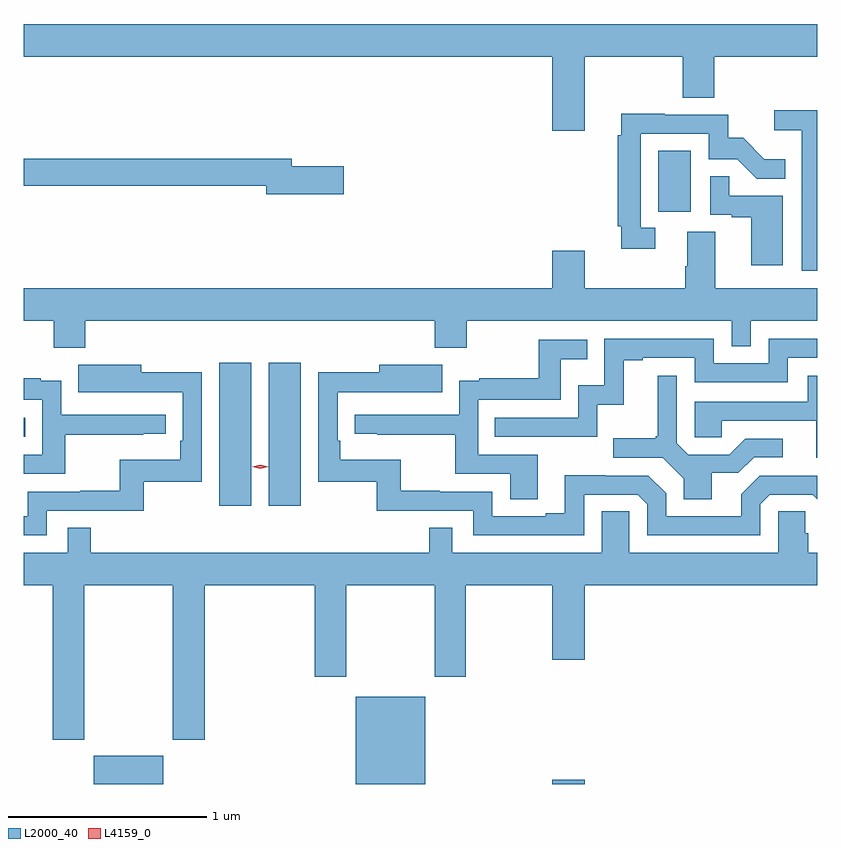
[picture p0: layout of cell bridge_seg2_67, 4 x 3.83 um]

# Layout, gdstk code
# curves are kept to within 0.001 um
import gdstk
lib = gdstk.Library(unit=1e-6, precision=1e-09)
def R(c, l, rs):  # rectangles x0, y0, x1, y1
    for r in rs: c.add(gdstk.rectangle(r[:2], r[2:], *l))
def P(c, l, *ps):  # polygons
    for p in ps: c.add(gdstk.Polygon(p, *l))
L2000_40 = (2000, 40)
L4159_0 = (4159, 0)

bridge_seg2_67 = lib.new_cell('bridge_seg2_67')
R(bridge_seg2_67, L2000_40, [(1133.726,590.691,1134.076,590.833), (1135.046,590.691,1135.396,591.13), (1136.036,590.691,1136.2,590.713), (1134.359,592.092,1134.52,592.813), (1134.608,592.092,1134.769,592.813), (1133.372,592.44,1133.381,592.536), (1136.57,593.574,1136.734,593.881)])
P(bridge_seg2_67, L2000_40, [(1136.2,594.356),(1136.692,594.356),(1136.692,594.148),(1136.852,594.148),(1136.852,594.356),(1137.372,594.356),(1137.372,594.52),(1133.372,594.52),(1133.372,594.356),(1136.036,594.356),(1136.036,593.982),(1136.2,593.982)],
  [(1137.372,594.086),(1137.153,594.086),(1137.153,593.984),(1137.294,593.984),(1137.294,593.277),(1137.372,593.277)],
  [(1136.554,593.493),(1136.481,593.493),(1136.481,593.967),(1136.823,593.967),(1136.823,593.838),(1136.967,593.838),(1137.065,593.74),(1137.209,593.74),(1137.209,593.839),(1137.105,593.839),(1136.998,593.946),(1136.922,593.946),(1136.922,594.063),(1136.603,594.063),(1136.603,594.068),(1136.384,594.068),(1136.384,593.96),(1136.365,593.96),(1136.365,593.5),(1136.384,593.5),(1136.384,593.388),(1136.554,593.388)],
  [(1134.985,593.804),(1134.724,593.804),(1134.724,593.84),(1133.372,593.84),(1133.372,593.704),(1134.596,593.704),(1134.596,593.662),(1134.985,593.662)],
  [(1137.196,593.655),(1136.927,593.655),(1136.927,593.753),(1136.832,593.753),(1136.832,593.559),(1136.939,593.559),(1136.939,593.547),(1137.038,593.547),(1137.038,593.304),(1137.196,593.304)],
  [(1133.684,593.024),(1135.445,593.024),(1135.445,592.889),(1135.605,592.889),(1135.605,593.024),(1136.94,593.024),(1136.94,592.897),(1137.036,592.897),(1137.036,593.024),(1137.372,593.024),(1137.372,593.188),(1136.857,593.188),(1136.857,593.474),(1136.717,593.474),(1136.717,593.3),(1136.705,593.3),(1136.705,593.188),(1136.2,593.188),(1136.2,593.377),(1136.036,593.377),(1136.036,593.188),(1133.372,593.188),(1133.372,593.024),(1133.524,593.024),(1133.524,592.889),(1133.684,592.889)],
  [(1136.262,592.601),(1136.395,592.601),(1136.395,592.827),(1136.491,592.827),(1136.491,592.839),(1136.754,592.839),(1136.754,592.716),(1137.222,592.716),(1137.222,592.839),(1137.372,592.839),(1137.372,592.935),(1137.126,592.935),(1137.126,592.812),(1136.85,592.812),(1136.85,592.935),(1136.298,592.935),(1136.298,592.699),(1136.166,592.699),(1136.166,592.536),(1135.747,592.536),(1135.747,592.44),(1136.262,592.44)],
  [(1135.963,592.35),(1135.662,592.35),(1135.662,592.626),(1136.079,592.626),(1136.079,592.832),(1136.213,592.832),(1136.213,592.929),(1135.968,592.929),(1135.968,592.735),(1135.669,592.735),(1135.669,592.723),(1135.566,592.723),(1135.566,592.551),(1135.041,592.551),(1135.041,592.455),(1135.153,592.455),(1135.153,592.45),(1135.546,592.45),(1135.546,592.254),(1135.823,592.254),(1135.823,592.126),(1135.963,592.126)],
  [(1136.196,592.149),(1136.466,592.149),(1136.514,592.101),(1136.514,591.945),(1137.084,591.945),(1137.084,592.101),(1137.132,592.149),(1137.348,592.149),(1137.372,592.125),(1137.372,592.245),(1137.081,592.245),(1136.987,592.151),(1136.987,592.041),(1136.61,592.041),(1136.61,592.155),(1136.52,592.245),(1136.304,592.245),(1136.304,592.247),(1136.099,592.247),(1136.099,592.054),(1136.003,592.054),(1136.003,592.041),(1135.734,592.041),(1135.734,592.164),(1135.469,592.164),(1135.469,592.169),(1135.273,592.169),(1135.273,592.324),(1134.968,592.324),(1134.968,592.42),(1134.954,592.42),(1134.954,592.665),(1135.481,592.664),(1135.481,592.804),(1135.163,592.804),(1135.163,592.766),(1134.858,592.766),(1134.858,592.215),(1135.152,592.215),(1135.152,592.068),(1135.638,592.068),(1135.638,591.945),(1136.196,591.945)],
  [(1133.49,592.068),(1133.977,592.068),(1133.977,592.215),(1134.27,592.215),(1134.27,592.766),(1133.965,592.766),(1133.965,592.804),(1133.647,592.804),(1133.647,592.664),(1133.861,592.664),(1133.861,592.665),(1134.174,592.665),(1134.174,592.42),(1134.161,592.42),(1134.161,592.324),(1133.856,592.324),(1133.856,592.169),(1133.659,592.169),(1133.659,592.164),(1133.394,592.164),(1133.394,592.041),(1133.372,592.041),(1133.372,591.945),(1133.49,591.945)],
  [(1136.839,592.258),(1136.974,592.258),(1137.054,592.338),(1137.196,592.338),(1137.196,592.431),(1137.008,592.431),(1136.927,592.35),(1136.721,592.35),(1136.664,592.407),(1136.664,592.747),(1136.567,592.747),(1136.567,592.444),(1136.556,592.444),(1136.556,592.432),(1136.343,592.432),(1136.343,592.335),(1136.592,592.335),(1136.699,592.228),(1136.699,592.126),(1136.839,592.126)],
  [(1137.372,592.747),(1137.323,592.747),(1137.323,592.617),(1136.754,592.617),(1136.754,592.437),(1136.891,592.437),(1136.891,592.521),(1137.365,592.521),(1137.365,592.335),(1137.372,592.335)],
  [(1133.582,592.45),(1133.975,592.45),(1133.975,592.455),(1134.088,592.455),(1134.088,592.551),(1133.562,592.551),(1133.562,592.723),(1133.459,592.723),(1133.459,592.735),(1133.372,592.735),(1133.372,592.626),(1133.466,592.626),(1133.466,592.35),(1133.372,592.35),(1133.372,592.254),(1133.582,592.254)],
  [(1133.679,591.692),(1134.124,591.692),(1134.124,590.913),(1134.284,590.913),(1134.284,591.692),(1134.839,591.692),(1134.839,591.231),(1134.999,591.231),(1134.999,591.692),(1135.444,591.692),(1135.444,591.231),(1135.599,591.231),(1135.599,591.692),(1136.036,591.692),(1136.036,591.318),(1136.2,591.318),(1136.2,591.692),(1137.372,591.692),(1137.372,591.856),(1137.326,591.856),(1137.326,591.954),(1137.311,591.954),(1137.311,592.064),(1137.174,592.064),(1137.174,591.856),(1136.424,591.856),(1136.424,592.064),(1136.285,592.064),(1136.285,591.856),(1135.533,591.856),(1135.533,591.983),(1135.417,591.983),(1135.417,591.856),(1133.711,591.856),(1133.711,591.983),(1133.595,591.983),(1133.595,591.856),(1133.372,591.856),(1133.372,591.692),(1133.519,591.692),(1133.519,590.913),(1133.679,590.913)])
P(bridge_seg2_67, L4159_0, [(1134.564,592.279),(1134.524,592.289),(1134.524,592.289),(1134.524,592.29),(1134.564,592.3),(1134.604,592.29),(1134.604,592.289),(1134.604,592.289)])

lib.write_gds('bridge_seg2_67.gds')
